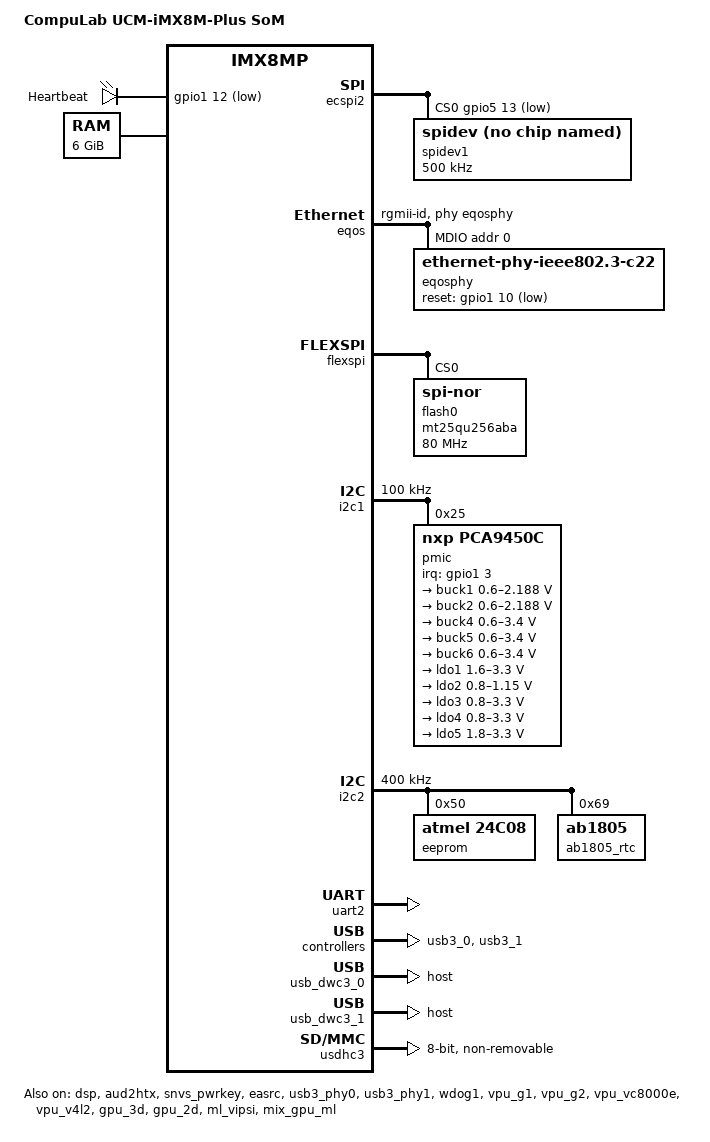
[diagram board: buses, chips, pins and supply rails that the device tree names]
// SPDX-License-Identifier: (GPL-2.0+ OR MIT)
/*
 * Copyright 2021 CompuLab
 */

/dts-v1/;

#include <dt-bindings/usb/pd.h>
#include "../freescale/imx8mp.dtsi"
#include "ucm-imx8m-plus-pinctrl.dtsi"

/ {
	model = "CompuLab UCM-iMX8M-Plus SoM";
	compatible = "compulab,ucm-imx8m-plus-som", "fsl,imx8mp";

	leds {
		compatible = "gpio-leds";
		pinctrl-names = "default";
		pinctrl-0 = <&pinctrl_gpio_led>;

		heartbeat-led {
			label = "Heartbeat";
			gpios = <&gpio1 12 GPIO_ACTIVE_LOW>;
			linux,default-trigger = "heartbeat";
		};
	};

	memory@40000000 {
		device_type = "memory";
		reg = <0x0 0x40000000 0 0xc0000000>,
		      <0x1 0x00000000 0 0xc0000000>;
	};
};

&A53_0 {
	cpu-supply = <&buck2>;
};

&A53_1 {
	cpu-supply = <&buck2>;
};

&A53_2 {
	cpu-supply = <&buck2>;
};

&A53_3 {
	cpu-supply = <&buck2>;
};

&dsp {
	status = "okay";
};

&aud2htx {
	status = "okay";
};

&ecspi2 {
	#address-cells = <1>;
	#size-cells = <0>;
	fsl,spi-num-chipselects = <1>;
	pinctrl-names = "default";
	pinctrl-0 = <&pinctrl_ecspi2 &pinctrl_ecspi2_cs>;
	cs-gpios = <&gpio5 13 GPIO_ACTIVE_LOW>;
	status = "okay";

	spidev1: spi@0 {
		reg = <0>;
		compatible = "rohm,dh2228fv";
		spi-max-frequency = <500000>;
	};
};

&eqos {
	pinctrl-names = "default";
	pinctrl-0 = <&pinctrl_eqos>, <&pinctrl_ecos_phy_reset>;
	phy-mode = "rgmii-id";
	phy-handle = <&eqosphy>;
	snps,force_thresh_dma_mode;
	snps,mtl-tx-config = <&mtl_tx_setup>;
	snps,mtl-rx-config = <&mtl_rx_setup>;
	status = "okay";

	mdio {
		compatible = "snps,dwmac-mdio";
		#address-cells = <1>;
		#size-cells = <0>;

		eqosphy: eqos-phy@0 {
			compatible = "ethernet-phy-ieee802.3-c22";
			reset-gpios = <&gpio1 10 GPIO_ACTIVE_LOW>;
			reset-assert-us = <10000>;
			reset-deassert-us = <80000>;
			reg = <0>;
			eee-broken-1000t;
			realtek,clkout-disable;
		};
	};

	mtl_tx_setup: tx-queues-config {
		snps,tx-queues-to-use = <5>;
		snps,tx-sched-sp;
		queue0 {
			snps,dcb-algorithm;
			snps,priority = <0x1>;
		};
		queue1 {
			snps,dcb-algorithm;
			snps,priority = <0x2>;
		};
		queue2 {
			snps,dcb-algorithm;
			snps,priority = <0x4>;
		};
		queue3 {
			snps,dcb-algorithm;
			snps,priority = <0x8>;
		};
		queue4 {
			snps,dcb-algorithm;
			snps,priority = <0xf0>;
		};
	};

	mtl_rx_setup: rx-queues-config {
		snps,rx-queues-to-use = <5>;
		snps,rx-sched-sp;
		queue0 {
			snps,dcb-algorithm;
			snps,priority = <0x1>;
			snps,map-to-dma-channel = <0>;
		};
		queue1 {
			snps,dcb-algorithm;
			snps,priority = <0x2>;
			snps,map-to-dma-channel = <1>;
		};
		queue2 {
			snps,dcb-algorithm;
			snps,priority = <0x4>;
			snps,map-to-dma-channel = <2>;
		};
		queue3 {
			snps,dcb-algorithm;
			snps,priority = <0x8>;
			snps,map-to-dma-channel = <3>;
		};
		queue4 {
			snps,dcb-algorithm;
			snps,priority = <0xf0>;
			snps,map-to-dma-channel = <4>;
		};
	};
};

&flexcan2 {
	pinctrl-names = "default";
	pinctrl-0 = <&pinctrl_flexcan2>;
	status = "disabled";
};

&flexspi {
	pinctrl-names = "default";
	pinctrl-0 = <&pinctrl_flexspi0>;
	status = "okay";

	flash0: mt25qu256aba@0 {
		reg = <0>;
		#address-cells = <1>;
		#size-cells = <1>;
		compatible = "jedec,spi-nor";
		spi-max-frequency = <80000000>;
		spi-tx-bus-width = <4>;
		spi-rx-bus-width = <4>;
	};
};

&i2c1 {
	clock-frequency = <100000>;
	pinctrl-names = "default";
	pinctrl-0 = <&pinctrl_i2c1>;
	status = "okay";

	pmic: pca9450@25 {
		reg = <0x25>;
		compatible = "nxp,pca9450c";
		/* PMIC PCA9450 PMIC_nINT GPIO1_IO3 */
		pinctrl-0 = <&pinctrl_pmic>;
		interrupt-parent = <&gpio1>;
		interrupts = <3 GPIO_ACTIVE_LOW>;

		regulators {
			buck1: BUCK1 {
				regulator-name = "BUCK1";
				regulator-min-microvolt = <600000>;
				regulator-max-microvolt = <2187500>;
				regulator-boot-on;
				regulator-always-on;
				regulator-ramp-delay = <3125>;
			};

			buck2: BUCK2 {
				regulator-name = "BUCK2";
				regulator-min-microvolt = <600000>;
				regulator-max-microvolt = <2187500>;
				regulator-boot-on;
				regulator-always-on;
				regulator-ramp-delay = <3125>;
				nxp,dvs-run-voltage = <950000>;
				nxp,dvs-standby-voltage = <850000>;
			};

			buck4: BUCK4{
				regulator-name = "BUCK4";
				regulator-min-microvolt = <600000>;
				regulator-max-microvolt = <3400000>;
				regulator-boot-on;
				regulator-always-on;
			};

			buck5: BUCK5{
				regulator-name = "BUCK5";
				regulator-min-microvolt = <600000>;
				regulator-max-microvolt = <3400000>;
				regulator-boot-on;
				regulator-always-on;
			};

			buck6: BUCK6 {
				regulator-name = "BUCK6";
				regulator-min-microvolt = <600000>;
				regulator-max-microvolt = <3400000>;
				regulator-boot-on;
				regulator-always-on;
			};

			ldo1: LDO1 {
				regulator-name = "LDO1";
				regulator-min-microvolt = <1600000>;
				regulator-max-microvolt = <3300000>;
				regulator-boot-on;
				regulator-always-on;
			};

			ldo2: LDO2 {
				regulator-name = "LDO2";
				regulator-min-microvolt = <800000>;
				regulator-max-microvolt = <1150000>;
				regulator-boot-on;
				regulator-always-on;
			};

			ldo3: LDO3 {
				regulator-name = "LDO3";
				regulator-min-microvolt = <800000>;
				regulator-max-microvolt = <3300000>;
				regulator-boot-on;
				regulator-always-on;
			};

			ldo4: LDO4 {
				regulator-name = "LDO4";
				regulator-min-microvolt = <800000>;
				regulator-max-microvolt = <3300000>;
				regulator-boot-on;
				regulator-always-on;
			};

			ldo5: LDO5 {
				regulator-name = "LDO5";
				regulator-min-microvolt = <1800000>;
				regulator-max-microvolt = <3300000>;
				regulator-boot-on;
				regulator-always-on;
			};
		};
	};
};

&i2c2 {
	clock-frequency = <400000>;
	pinctrl-names = "default";
	pinctrl-0 = <&pinctrl_i2c2>;
	status = "okay";

	eeprom@50 {
		compatible = "atmel,24c08";
		reg = <0x50>;
		pagesize = <16>;
	};

	ab1805_rtc: rtc@69 {
		compatible = "ab1805";
		reg = <0x69>;
		pagesize = <16>;
		sqw = "32768_Hz";
		xt-frequency = <32773500>;
		status = "okay";
	};
};

&i2c3 {
	clock-frequency = <100000>;
	pinctrl-names = "default";
	pinctrl-0 = <&pinctrl_i2c3>;
	status = "disabled";
};

&i2c5 {
	clock-frequency = <400000>;
	pinctrl-names = "default";
	pinctrl-0 = <&pinctrl_i2c5>;
	status = "disabled";
};

&i2c6 {
	clock-frequency = <400000>;
	pinctrl-names = "default";
	pinctrl-0 = <&pinctrl_i2c6>;
	status = "disabled";
};

&snvs_pwrkey {
	status = "okay";
};

&easrc {
	fsl,asrc-rate  = <48000>;
	status = "okay";
};

&sdma2 {
	status = "okay";
};

&uart1 {
	pinctrl-names = "default";
	pinctrl-0 = <&pinctrl_uart1>;
	assigned-clocks = <&clk IMX8MP_CLK_UART1>;
	assigned-clock-parents = <&clk IMX8MP_SYS_PLL1_80M>;
	status = "disabled";
};

&uart2 {
	pinctrl-names = "default";
	pinctrl-0 = <&pinctrl_uart2>;
	status = "okay";
};

&uart3 {
	pinctrl-names = "default";
	pinctrl-0 = <&pinctrl_uart3>;
	assigned-clocks = <&clk IMX8MP_CLK_UART3>;
	assigned-clock-parents = <&clk IMX8MP_SYS_PLL1_80M>;
	status = "disabled";
};

&uart4 {
	pinctrl-names = "default";
	pinctrl-0 = <&pinctrl_uart4>;
	assigned-clocks = <&clk IMX8MP_CLK_UART4>;
	assigned-clock-parents = <&clk IMX8MP_SYS_PLL1_80M>;
	status = "disabled";
};

&usb3_phy0 {
	fsl,phy-tx-preemp-amp-tune = <3>;
	status = "okay";
};

&usb3_0 {
	status = "okay";
};

&usb_dwc3_0 {
	dr_mode = "host";
	status = "okay";
};

&usb3_phy1 {
	fsl,phy-tx-preemp-amp-tune = <3>;
	fsl,phy-tx-vref-tune = <0xb>;
	status = "okay";
};

&usb3_1 {
	status = "okay";
};

&usb_dwc3_1 {
	dr_mode = "host";
	status = "okay";
};

&usdhc1 {
	assigned-clocks = <&clk IMX8MP_CLK_USDHC1>;
	assigned-clock-rates = <400000000>;
	pinctrl-names = "default", "state_100mhz", "state_200mhz";
	pinctrl-0 = <&pinctrl_usdhc1>;
	pinctrl-1 = <&pinctrl_usdhc1_100mhz>;
	pinctrl-2 = <&pinctrl_usdhc1_200mhz>;
	bus-width = <4>;
	non-removable;
	status = "disabled";
};

&usdhc3 {
	assigned-clocks = <&clk IMX8MP_CLK_USDHC3>;
	assigned-clock-rates = <400000000>;
	pinctrl-names = "default", "state_100mhz", "state_200mhz";
	pinctrl-0 = <&pinctrl_usdhc3>;
	pinctrl-1 = <&pinctrl_usdhc3_100mhz>;
	pinctrl-2 = <&pinctrl_usdhc3_200mhz>;
	bus-width = <8>;
	non-removable;
	status = "okay";
};

&wdog1 {
	pinctrl-names = "default";
	pinctrl-0 = <&pinctrl_wdog>;
	fsl,ext-reset-output;
	status = "okay";
};

&vpu_g1 {
	status = "okay";
};

&vpu_g2 {
	status = "okay";
};

&vpu_vc8000e {
	status = "okay";
};

&vpu_v4l2 {
	status = "okay";
};

&gpu_3d {
	status = "okay";
};

&gpu_2d {
	status = "okay";
};

&ml_vipsi {
	status = "okay";
};

&mix_gpu_ml {
	status = "okay";
};

&mipi_csi_0 {
	#address-cells = <1>;
	#size-cells = <0>;
	status = "disabled";
};

&mipi_csi_1 {
	#address-cells = <1>;
	#size-cells = <0>;
	assigned-clock-parents = <&clk IMX8MP_SYS_PLL2_1000M>;
	assigned-clock-rates = <500000000>;
	status = "disabled";
};


&cameradev {
	status = "disabled";
};

&isi_0 {
	status = "disabled";
	fsl,chain_buf;

	cap_device {
		status = "okay";
	};

};

&isi_1 {
	status = "disabled";
	fsl,chain_buf;

	cap_device {
		status = "okay";
	};
};

&resmem {
	/* global autoconfigured region for contiguous allocations */
	linux,cma {
		compatible = "shared-dma-pool";
		reusable;
		size = <0 0x2c000000>;
		alloc-ranges = <0 0x40000000 0 0x80000000>;
		linux,cma-default;
	};
};

